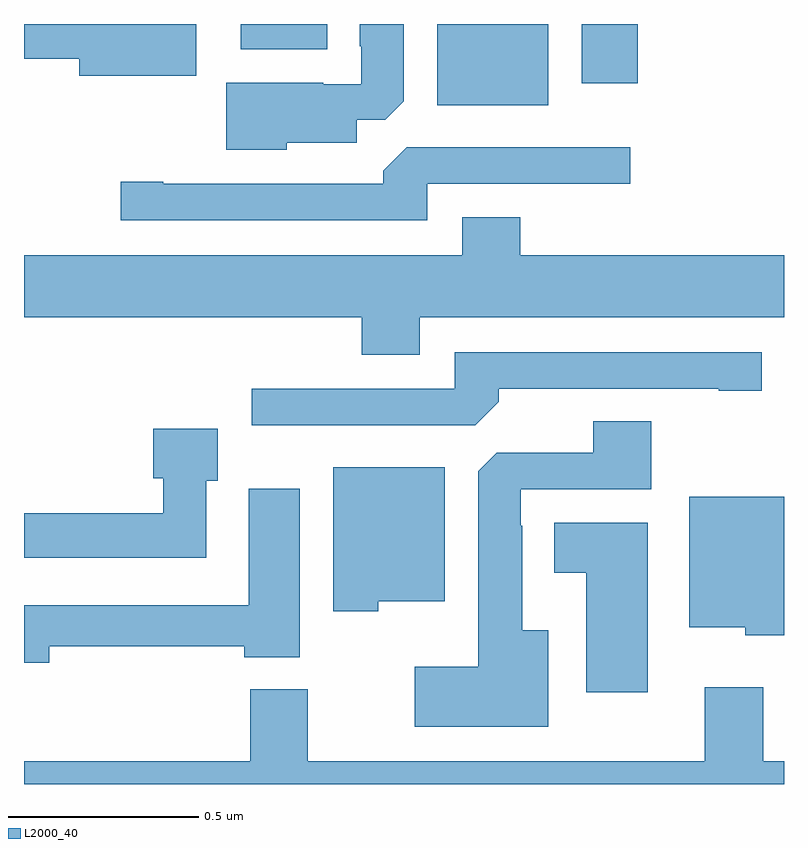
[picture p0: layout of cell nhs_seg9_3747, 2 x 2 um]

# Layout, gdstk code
import gdstk
lib = gdstk.Library(unit=1e-6, precision=1e-09)
def R(c, l, rs):  # rectangles x0, y0, x1, y1
    for r in rs: c.add(gdstk.rectangle(r[:2], r[2:], *l))
def P(c, l, *ps):  # polygons
    for p in ps: c.add(gdstk.Polygon(p, *l))
L2000_40 = (2000, 40)

nhs_seg9_3747 = lib.new_cell('nhs_seg9_3747')
R(nhs_seg9_3747, L2000_40, [(158.087,1222.286,158.38,1222.5), (158.468,1222.344,158.615,1222.5), (157.571,1222.433,157.798,1222.5)])
P(nhs_seg9_3747, L2000_40, [(157.692,1222.187),(157.876,1222.187),(157.876,1222.248),(157.95,1222.248),(157.999,1222.297),(157.999,1222.5),(157.883,1222.5),(157.883,1222.441),(157.887,1222.441),(157.887,1222.341),(157.787,1222.341),(157.787,1222.345),(157.532,1222.345),(157.532,1222.169),(157.692,1222.169)],
  [(157.453,1222.5),(157,1222.5),(157,1222.408),(157.145,1222.408),(157.145,1222.364),(157.453,1222.364)],
  [(158.061,1222.08),(158.596,1222.08),(158.596,1222.176),(158.007,1222.176),(157.946,1222.114),(157.946,1222.08),(157.366,1222.08),(157.366,1222.085),(157.254,1222.085),(157.254,1221.984),(158.061,1221.984)],
  [(158.041,1221.728),(159,1221.728),(159,1221.892),(158.306,1221.892),(158.306,1221.991),(158.153,1221.991),(158.153,1221.892),(157,1221.892),(157,1221.728),(157.889,1221.728),(157.889,1221.629),(158.041,1221.629)],
  [(158.249,1221.506),(158.249,1221.54),(158.828,1221.54),(158.828,1221.535),(158.941,1221.535),(158.941,1221.636),(158.133,1221.636),(158.133,1221.54),(157.599,1221.54),(157.599,1221.444),(158.187,1221.444)],
  [(158.38,1220.905),(158.311,1220.905),(158.311,1221.179),(158.307,1221.179),(158.307,1221.276),(158.651,1221.276),(158.651,1221.455),(158.498,1221.455),(158.498,1221.372),(158.244,1221.372),(158.195,1221.323),(158.195,1220.809),(158.028,1220.809),(158.028,1220.651),(158.38,1220.651)],
  [(157.479,1221.298),(157.51,1221.298),(157.51,1221.435),(157.34,1221.435),(157.34,1221.305),(157.367,1221.305),(157.367,1221.212),(157,1221.212),(157,1221.096),(157.479,1221.096)],
  [(157.932,1220.981),(158.107,1220.981),(158.107,1221.334),(157.814,1221.334),(157.814,1220.954),(157.932,1220.954)],
  [(157.066,1220.862),(157.58,1220.862),(157.58,1220.834),(157.726,1220.834),(157.726,1221.277),(157.592,1221.277),(157.592,1220.97),(157,1220.97),(157,1220.819),(157.066,1220.819)],
  [(159,1221.256),(158.75,1221.256),(158.75,1220.912),(158.898,1220.912),(158.898,1220.891),(159,1220.891)],
  [(158.641,1221.187),(158.396,1221.187),(158.396,1221.056),(158.48,1221.056),(158.48,1220.742),(158.641,1220.742)],
  [(159,1220.56),(158.945,1220.56),(158.945,1220.755),(158.792,1220.755),(158.792,1220.56),(157.747,1220.56),(157.747,1220.749),(157.595,1220.749),(157.595,1220.56),(157,1220.56),(157,1220.5),(159,1220.5)])

lib.write_gds('nhs_seg9_3747.gds')
